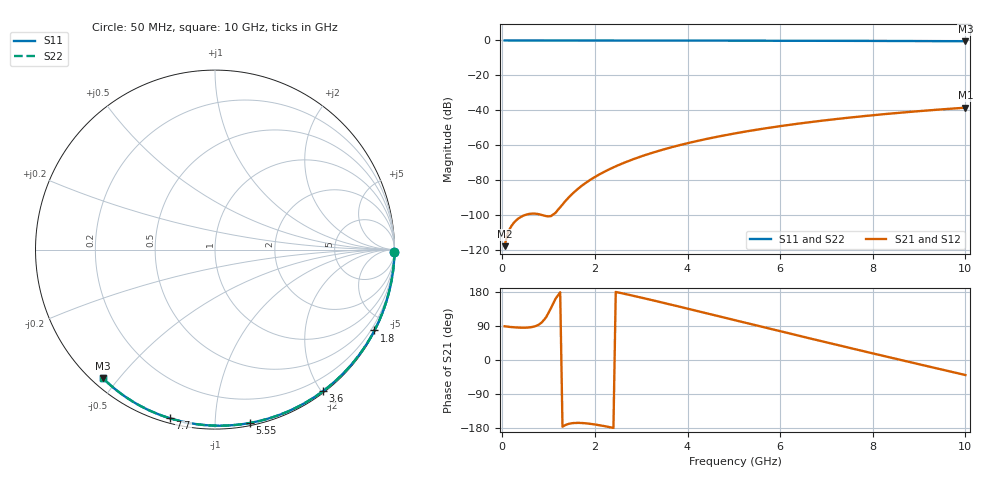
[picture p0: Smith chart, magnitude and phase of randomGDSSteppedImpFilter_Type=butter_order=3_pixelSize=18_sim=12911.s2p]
! freq	dB(S11)	phase(S11)	dB(S12)	phase(S12)
!  dB(S21)	phase(S21)	dB(S22)	phase(S22)
!S-par simulation data
#  GHz  S  DB  R 50
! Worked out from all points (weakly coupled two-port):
!   200 points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, 50 MHz to 10 GHz, reference 50 ohm
!   highest |S21| = -38.50 dB at 10 GHz (marker M1); lowest = -117.9 dB at 50 MHz (marker M2)
!   lowest |S11| = -0.4 dB at 10 GHz (marker M3), VSWR 39.14, Z = 1.54 - j22.6 ohm
!   |S11| at or under -10 dB: nowhere
!   |S22| runs from -0.4 to 0.0 dB; largest |S21 - S12| = 0
!   S11 on the Smith chart (normalised r, x): 50 MHz: open; 1.8 GHz: 0.04, -4.18; 3.6 GHz: 0.02, -2.02; 5.55 GHz: 0.02, -1.22; 7.7 GHz: 0.02, -0.77; 10 GHz: 0.03, -0.45
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0.05  -0.00 -0.8  -117.86 89.0  -117.86 89.0  -0.00 -0.8
0.45  -0.01 -6.8  -100.44 85.2  -100.44 85.2  -0.01 -6.8
0.9  -0.02 -13.6  -100.35 105.7  -100.35 105.7  -0.02 -13.6
1.75  -0.03 -26.2  -82.58 -166.5  -82.58 -166.5  -0.03 -26.2
1.8  -0.03 -26.9  -81.63 -167.0  -81.63 -167.0  -0.03 -26.9
1.9  -0.04 -28.4  -79.85 -168.4  -79.85 -168.4  -0.04 -28.4
2.05  -0.04 -30.5  -77.44 -171.1  -77.44 -171.1  -0.04 -30.6
2.25  -0.04 -33.4  -74.60 -175.5  -74.60 -175.5  -0.04 -33.5
2.45  -0.05 -36.3  -72.10 179.6  -72.10 179.6  -0.05 -36.3
2.65  -0.05 -39.2  -69.86 174.3  -69.86 174.3  -0.05 -39.2
3  -0.06 -44.2  -66.42 164.7  -66.42 164.7  -0.06 -44.2
3.4  -0.07 -49.8  -63.07 153.2  -63.07 153.2  -0.07 -49.8
3.6  -0.07 -52.6  -61.57 147.4  -61.57 147.4  -0.07 -52.6
4.3  -0.09 -62.1  -57.05 126.7  -57.05 126.7  -0.09 -62.2
5.05  -0.11 -72.1  -53.12 104.3  -53.12 104.3  -0.11 -72.1
5.55  -0.13 -78.6  -50.89 89.4  -50.89 89.4  -0.13 -78.6
6.1  -0.15 -85.5  -48.71 73.0  -48.71 73.0  -0.15 -85.5
6.7  -0.18 -92.9  -46.62 55.3  -46.62 55.3  -0.18 -92.9
7.7  -0.24 -104.9  -43.63 26.1  -43.63 26.1  -0.24 -104.9
8.35  -0.29 -112.5  -41.97 7.4  -41.97 7.4  -0.29 -112.5
9.15  -0.36 -121.6  -40.17 -15.5  -40.17 -15.5  -0.36 -121.7
10  -0.44 -131.2  -38.50 -39.6  -38.50 -39.6  -0.44 -131.3
